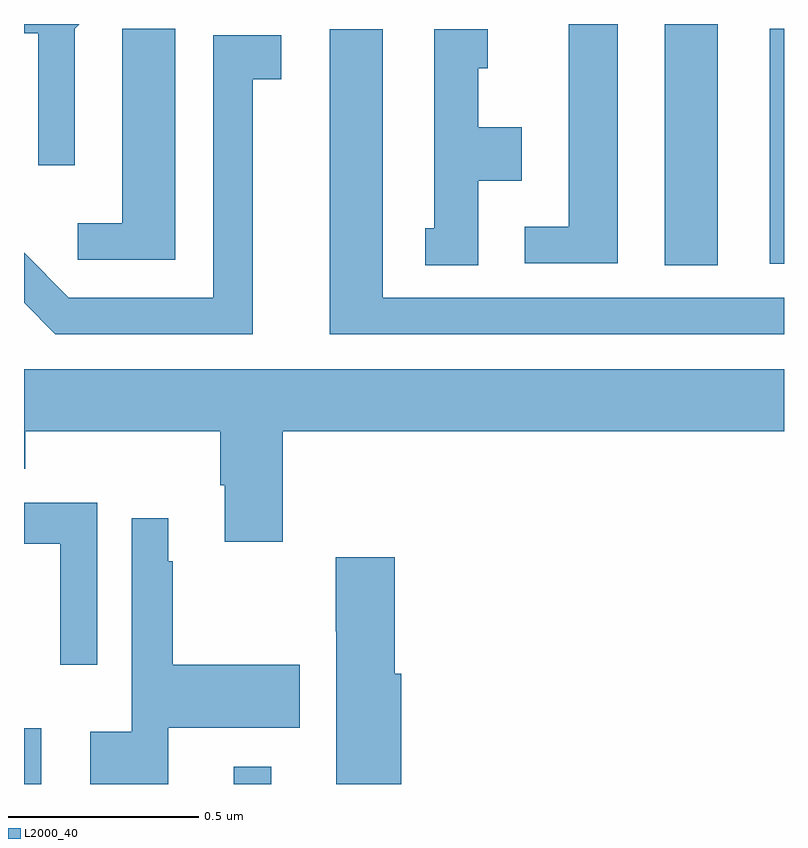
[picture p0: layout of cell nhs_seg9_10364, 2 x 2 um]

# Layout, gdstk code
import gdstk
lib = gdstk.Library(unit=1e-6, precision=1e-09)
def R(c, l, rs):  # rectangles x0, y0, x1, y1
    for r in rs: c.add(gdstk.rectangle(r[:2], r[2:], *l))
def P(c, l, *ps):  # polygons
    for p in ps: c.add(gdstk.Polygon(p, *l))
L2000_40 = (2000, 40)

nhs_seg9_10364 = lib.new_cell('nhs_seg9_10364')
R(nhs_seg9_10364, L2000_40, [(242,1187.5,242.046,1187.647), (242.552,1187.5,242.65,1187.545), (243.686,1188.865,243.826,1189.5)])
P(nhs_seg9_10364, L2000_40, [(242.133,1189.488),(242.145,1189.5),(242,1189.5),(242,1189.476),(242.037,1189.476),(242.037,1189.128),(242.133,1189.128)],
  [(243.562,1189.5),(243.434,1189.5),(243.434,1188.966),(243.318,1188.966),(243.318,1188.87),(243.562,1188.87)],
  [(242.398,1189.487),(242.259,1189.487),(242.259,1189.379),(242.258,1189.379),(242.258,1188.976),(242.142,1188.976),(242.142,1188.879),(242.398,1188.879)],
  [(244,1189.487),(243.963,1189.487),(243.963,1189.379),(243.962,1189.379),(243.962,1188.869),(244,1188.869)],
  [(243.196,1189.088),(243.31,1189.088),(243.31,1189.228),(243.196,1189.228),(243.196,1189.383),(243.22,1189.383),(243.22,1189.486),(243.08,1189.486),(243.08,1188.963),(243.056,1188.963),(243.056,1188.865),(243.196,1188.865)],
  [(244,1188.78),(242.944,1188.78),(242.944,1189.486),(242.804,1189.486),(242.804,1188.684),(244,1188.684)],
  [(242.602,1189.354),(242.677,1189.354),(242.677,1189.47),(242.498,1189.47),(242.498,1188.78),(242.118,1188.78),(242,1188.898),(242,1188.766),(242.082,1188.684),(242.602,1188.684)],
  [(242.681,1188.428),(244,1188.428),(244,1188.592),(242,1188.592),(242,1188.33),(242.003,1188.33),(242.003,1188.428),(242.516,1188.428),(242.516,1188.286),(242.528,1188.286),(242.528,1188.138),(242.681,1188.138)],
  [(242.193,1188.24),(242,1188.24),(242,1188.132),(242.096,1188.132),(242.096,1187.814),(242.193,1187.814)],
  [(242.38,1187.648),(242.725,1187.648),(242.725,1187.814),(242.392,1187.814),(242.392,1188.086),(242.38,1188.086),(242.38,1188.199),(242.283,1188.199),(242.283,1187.638),(242.174,1187.638),(242.174,1187.5),(242.38,1187.5)],
  [(242.993,1187.79),(242.975,1187.79),(242.975,1188.097),(242.821,1188.097),(242.821,1187.902),(242.822,1187.902),(242.822,1187.5),(242.993,1187.5)])

lib.write_gds('nhs_seg9_10364.gds')
